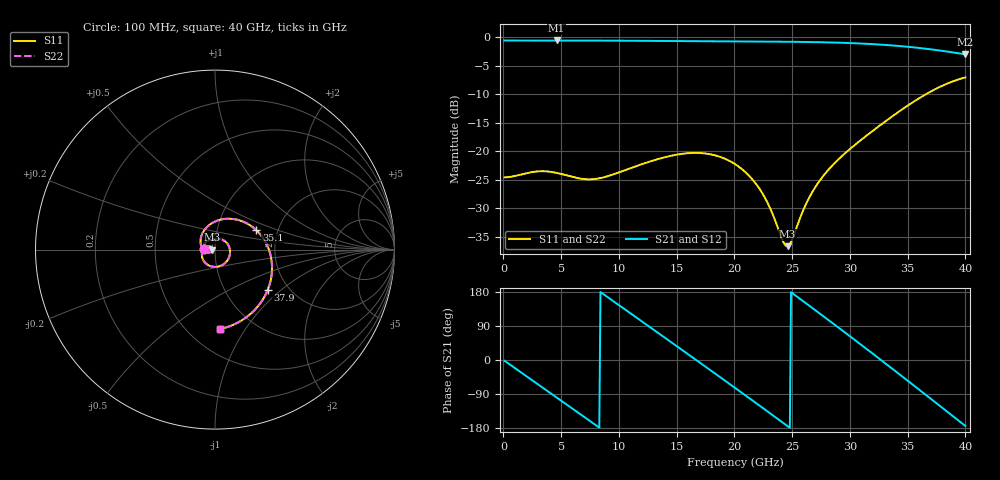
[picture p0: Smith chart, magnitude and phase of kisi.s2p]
! B_s8_L1L8_d300: L1→L8, no stub, drill Ø0.3
! stackup: 8-layer 1.6 mm FR-4 (generic)
! ports: 1, 2
! kisi-fdtd, conformal, dfine 0.035 mm, 637065 cells
# Hz S RI R 50
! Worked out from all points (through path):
!   400 points, 100 MHz to 40 GHz, reference 50 ohm
!   highest |S21| = -0.58 dB at 4.6 GHz (marker M1); lowest = -3.0 dB at 40 GHz (marker M2)
!   group delay of S21, straight-line fit = 61.8 ps
!   lowest |S11| = -36.7 dB at 24.6 GHz (marker M3), VSWR 1.03, Z = 48.6 - j0.0222 ohm
!   |S11| at or under -10 dB: start of sweep to 36.6 GHz
!   |S22| runs from -36.7 to -7.1 dB; largest |S21 - S12| = 1.4e-07
!   S11 on the Smith chart (normalised r, x): 100 MHz: 0.89, +0.00; 35.1 GHz: 1.55, +0.36; 37.9 GHz: 1.56, -0.82; 40 GHz: 0.71, -0.78
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1e8  -0.0588 0.000567  0.9332 -0.0349  0.9332 -0.0349  -0.0588 0.000567
2.6e9  -0.0609 0.0248  0.5259 -0.7726  0.5259 -0.7726  -0.0609 0.0248
4.6e9  -0.0427 0.0482  -0.1424 -0.9242  -0.1424 -0.9242  -0.0427 0.0482
6.8e9  -0.0165 0.0546  -0.7759 -0.5205  -0.7759 -0.5205  -0.0165 0.0546
9.6e9  0.0193 0.0599  -0.8332 0.416  -0.8332 0.416  0.0193 0.0599
1.16e10  0.0629 0.0399  -0.3218 0.8708  -0.3218 0.8708  0.0629 0.0399
1.34e10  0.0839 -0.0148  0.2959 0.8771  0.2959 0.8771  0.0839 -0.0148
1.52e10  0.0556 -0.0755  0.7798 0.494  0.7798 0.494  0.0556 -0.0755
1.67e10  0.00163 -0.0964  0.9212 -0.00395  0.9212 -0.00395  0.00163 -0.0964
1.83e10  -0.0528 -0.0753  0.7519 -0.5291  0.7519 -0.5291  -0.0528 -0.0753
2.01e10  -0.073 -0.0223  0.2441 -0.8844  0.2441 -0.8844  -0.073 -0.0223
2.21e10  -0.045 0.0161  -0.4394 -0.8029  -0.4394 -0.8029  -0.045 0.0161
2.46e10  -0.0146 -0.000229  -0.9069 -0.0894  -0.9069 -0.0894  -0.0146 -0.000229
2.67e10  -0.0398 -0.0162  -0.676 0.6023  -0.676 0.6023  -0.0398 -0.0162
2.82e10  -0.0695 0.00494  -0.2196 0.8716  -0.2196 0.8716  -0.0695 0.00494
2.97e10  -0.0802 0.0565  0.309 0.8341  0.309 0.8341  -0.0802 0.0565
3.17e10  -0.0269 0.1407  0.8007 0.3436  0.8007 0.3436  -0.0269 0.1407
3.34e10  0.0878 0.1718  0.8139 -0.2439  0.8139 -0.2439  0.0878 0.1718
3.51e10  0.2305 0.1079  0.4481 -0.6884  0.4481 -0.6884  0.2305 0.1079
3.65e10  0.3102 -0.0335  -0.00413 -0.7931  -0.00413 -0.7931  0.3102 -0.0335
3.79e10  0.2929 -0.2266  -0.4229 -0.6321  -0.4229 -0.6321  0.2929 -0.2266
4e10  0.0301 -0.442  -0.7021 -0.0725  -0.7021 -0.0725  0.0301 -0.442
